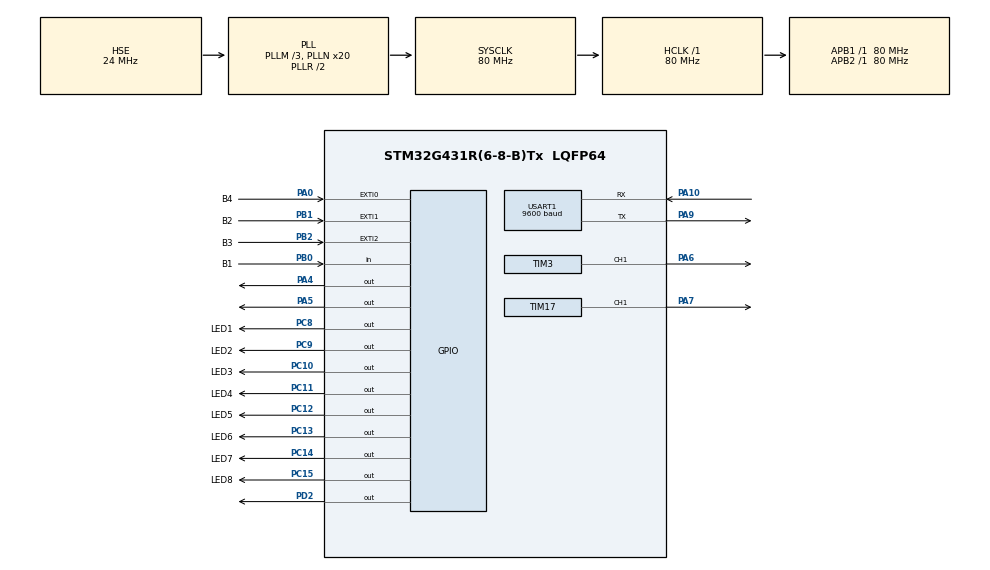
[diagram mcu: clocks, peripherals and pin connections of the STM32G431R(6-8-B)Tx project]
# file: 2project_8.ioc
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Mcu.Family=STM32G4
Mcu.Name=STM32G431R(6-8-B)Tx
Mcu.Package=LQFP64
NVIC.EXTI0_IRQn=true\:0\:0\:false\:false\:true\:true\:true
NVIC.EXTI1_IRQn=true\:0\:0\:false\:false\:true\:true\:true
NVIC.EXTI2_IRQn=true\:0\:0\:false\:false\:true\:true\:true
NVIC.PriorityGroup=NVIC_PRIORITYGROUP_4
NVIC.TIM1_UP_TIM16_IRQn=true\:0\:0\:false\:false\:true\:true\:true
PA0.GPIO_Label=B4
PA0.Signal=GPXTI0
PA10.Mode=Asynchronous
PA10.Signal=USART1_RX
PA4.GPIO_PuPd=GPIO_PULLUP
PA4.Signal=GPIO_Output
PA5.GPIO_PuPd=GPIO_PULLUP
PA5.Signal=GPIO_Output
PA6.Signal=S_TIM3_CH1
PA7.Signal=S_TIM17_CH1
PA9.Mode=Asynchronous
PA9.Signal=USART1_TX
PB0.GPIO_Label=B1
PB0.Signal=GPIO_Input
PB1.GPIO_Label=B2
PB1.Signal=GPXTI1
PB2.GPIO_Label=B3
PB2.Signal=GPXTI2
PC10.GPIO_Label=LED3
PC10.Signal=GPIO_Output
PC11.GPIO_Label=LED4
PC11.Signal=GPIO_Output
PC12.GPIO_Label=LED5
PC12.Signal=GPIO_Output
PC13.GPIO_Label=LED6
PC13.Signal=GPIO_Output
PC14-OSC32_IN.GPIO_Label=LED7
PC14-OSC32_IN.Signal=GPIO_Output
PC15-OSC32_OUT.GPIO_Label=LED8
PC15-OSC32_OUT.Signal=GPIO_Output
PC8.GPIO_Label=LED1
PC8.Signal=GPIO_Output
PC9.GPIO_Label=LED2
PC9.Signal=GPIO_Output
PD2.Signal=GPIO_Output
PF0-OSC_IN.Mode=HSE-External-Oscillator
PF0-OSC_IN.Signal=RCC_OSC_IN
PF1-OSC_OUT.Mode=HSE-External-Oscillator
PF1-OSC_OUT.Signal=RCC_OSC_OUT
ProjectManager.HeapSize=0x200
ProjectManager.StackSize=0x400
ProjectManager.TargetToolchain=MDK-ARM V5.32
RCC.ADC12Freq_Value=80000000
RCC.AHBFreq_Value=80000000
RCC.APB1Freq_Value=80000000
RCC.APB1TimFreq_Value=80000000
RCC.APB2Freq_Value=80000000
RCC.APB2TimFreq_Value=80000000
RCC.CortexFreq_Value=80000000
RCC.EXTERNAL_CLOCK_VALUE=12288000
RCC.HCLKFreq_Value=80000000
RCC.HSE_VALUE=24000000
RCC.HSI48_VALUE=48000000
RCC.HSI_VALUE=16000000
RCC.LSE_VALUE=32768
RCC.PLLM=RCC_PLLM_DIV3
RCC.PLLN=20
RCC.PLLSourceVirtual=RCC_PLLSOURCE_HSE
RCC.SYSCLKFreq_VALUE=80000000
RCC.SYSCLKSource=RCC_SYSCLKSOURCE_PLLCLK
RCC.USBFreq_Value=80000000
RCC.VCOOutputFreq_Value=160000000
RTC.Hours=12
RTC.Minutes=50
RTC.Seconds=55
SH.S_TIM17_CH1.0=TIM17_CH1,PWM Generation1 CH1
SH.S_TIM3_CH1.0=TIM3_CH1,PWM Generation1 CH1
TIM1.AutoReloadPreload=TIM_AUTORELOAD_PRELOAD_ENABLE
TIM1.PeriodNoDither=10000-1
TIM1.Prescaler=80-1
TIM17.AutoReloadPreload=TIM_AUTORELOAD_PRELOAD_ENABLE
TIM17.Channel=TIM_CHANNEL_1
TIM17.PeriodNoDither=500-1
TIM17.Prescaler=80-1
TIM17.PulseNoDither_1=600
TIM3.AutoReloadPreload=TIM_AUTORELOAD_PRELOAD_ENABLE
TIM3.Channel-PWM\ Generation1\ CH1=TIM_CHANNEL_1
TIM3.PeriodNoDither=1000-1
TIM3.Prescaler=80-1
TIM3.PulseNoDither_1=800
USART1.BaudRate=9600
USART1.VirtualMode-Asynchronous=VM_ASYNC
VP_RTC_VS_RTC_Activate.Mode=RTC_Enabled
VP_RTC_VS_RTC_Calendar.Mode=RTC_Calendar
VP_SYS_VS_DBSignals.Mode=DisableDeadBatterySignals
VP_TIM17_VS_ClockSourceINT.Mode=Enable_Timer
VP_TIM1_VS_ClockSourceINT.Mode=Internal
VP_TIM3_VS_ClockSourceINT.Mode=Internal
board=custom

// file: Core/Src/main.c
/* USER CODE BEGIN Header */
/**
  ******************************************************************************
  * @file           : main.c
  * @brief          : Main program body
  ******************************************************************************
  * @attention
  *
  * <h2><center>&copy; Copyright (c) 2022 STMicroelectronics.
  * All rights reserved.</center></h2>
  *
  * This software component is licensed by ST under BSD 3-Clause license,
  * the "License"; You may not use this file except in compliance with the
  * License. You may obtain a copy of the License at:
  *                        opensource.org/licenses/BSD-3-Clause
  *
  ******************************************************************************
  */
/* USER CODE END Header */
#include "main.h"
#include "rtc.h"
#include "tim.h"
#include "usart.h"
#include "gpio.h"

/* USER CODE BEGIN Includes */
#include <stdio.h>
#include "lcd.h"
/* USER CODE END Includes */

/* USER CODE BEGIN PTD */
typedef struct
{
	uint8_t B_want;
	uint8_t B_now;
	uint8_t B[6];
	uint8_t B_buf[6];
	uint8_t B_going;
	uint8_t B_Start;

}BX_TypeDef;

BX_TypeDef BX;

typedef struct
{
	uint16_t Key;
	uint16_t Led;
	uint16_t Door;
	uint16_t UD;
	uint16_t Wait;

}Time_TypeDef;

Time_TypeDef T;
/* USER CODE END PTD */

/* USER CODE BEGIN PD */
#define B1 !HAL_GPIO_ReadPin(GPIOB,B1_Pin)
/* USER CODE END PD */

/* USER CODE BEGIN PV */
uint8_t ShowTime[16];
uint8_t ShowDate[16];
uint8_t str[30];
uint16_t Time = 0;
/* USER CODE END PV */

void SystemClock_Config(void);

/* USER CODE BEGIN 0 */

//重定向函数
int fputc(int ch,FILE *stream)
{
	while(!(USART1->ISR & (1<<7)));
	USART1->TDR = (uint8_t)ch;
	return ch;
}

//结构体初始化
void BX_Init(void)
{
	BX.B[0] = 0;
	BX.B[1] = 0;
	BX.B[2] = 0;
	BX.B[3] = 0;

	BX.B_buf[0] = 0;
	BX.B_buf[1] = 0;
	BX.B_buf[2] = 0;
	BX.B_buf[3] = 0;

	BX.B_now = 1;
	BX.B_want = 0;
	BX.B_going = 0;//电梯是否正在运行
	BX.B_Start = 0;//各状态标志位
}

void T_init(void)
{
	T.Key = 100;
	T.Led = 25;
	T.Door = 400;
	T.UD = 600;
	T.Wait = 200;
}

//RTC显示函数
void RTC_Show(uint8_t* showtime)
{
	RTC_TimeTypeDef T;
	RTC_DateTypeDef D;

	HAL_RTC_GetTime(&hrtc,&T,RTC_FORMAT_BIN);
	HAL_RTC_GetDate(&hrtc,&D,RTC_FORMAT_BIN);

	sprintf((char*)showtime,"     %d: %d: %d      ",T.Hours,T.Minutes,T.Seconds);
	LCD_DisplayStringLine(Line7,(uint8_t*)ShowTime);
}

//LCD刷新所在楼层
void LCD_Show(void)
{
	if(BX.B_now)
	{
		sprintf((char*)str,"         %d       ",BX.B_now);
		LCD_DisplayStringLine(Line4,str);
	}
	else
	{
		sprintf((char*)str,"                     ");
		LCD_DisplayStringLine(Line4,str);
	}
}

//绝对值函数
int rabs(int data)
{
	if(data > 0)
		return data;
	else
		return -data;
}

//开关门函数
void Door(uint8_t data)//开门为1，关门为0
{
	if(data)
	{
		HAL_GPIO_WritePin(GPIOA,GPIO_PIN_5,GPIO_PIN_SET);
		__HAL_TIM_SetCompare(&htim17,TIM_CHANNEL_1,600);
	}
	else
	{
		HAL_GPIO_WritePin(GPIOA,GPIO_PIN_5,GPIO_PIN_RESET);
		__HAL_TIM_SetCompare(&htim17,TIM_CHANNEL_1,500);
	}
}

//上下行函数
void UpDown(uint8_t data)//上行为1，下行为0
{
	if(data)
	{
		HAL_GPIO_WritePin(GPIOA,GPIO_PIN_4,GPIO_PIN_SET);
		__HAL_TIM_SetCompare(&htim3,TIM_CHANNEL_1,800);
	}
	else
	{
		HAL_GPIO_WritePin(GPIOA,GPIO_PIN_4,GPIO_PIN_RESET);
		__HAL_TIM_SetCompare(&htim3,TIM_CHANNEL_1,600);
	}
}

//关闭所有LED
void LED_Close(void)
{
	HAL_GPIO_WritePin(GPIOC,LED1_Pin|LED2_Pin|LED3_Pin|LED4_Pin|LED5_Pin|LED6_Pin|LED7_Pin|LED8_Pin,GPIO_PIN_SET);
	HAL_GPIO_WritePin(GPIOD,GPIO_PIN_2,GPIO_PIN_SET);
	HAL_GPIO_WritePin(GPIOD,GPIO_PIN_2,GPIO_PIN_RESET);
}
//要去哪个楼层，点亮哪个LED
void B_LED(void)
{
	LED_Close();
	for(int i = 0;i < 4;i++)
	{
		if(BX.B[i])
		{
			HAL_GPIO_WritePin(GPIOC,(1<<(8 + i)),GPIO_PIN_RESET);
		}
		HAL_GPIO_WritePin(GPIOD,GPIO_PIN_2,GPIO_PIN_SET);
		HAL_GPIO_WritePin(GPIOD,GPIO_PIN_2,GPIO_PIN_RESET);
	}
}
//LED闪烁函数
uint8_t Flag_LED = 0;
void LED_BL(void)
{
	switch (BX.B_going)
	{
		//上行流水灯
		case 1:
			HAL_GPIO_WritePin(GPIOC,1<<(12 + Flag_LED),GPIO_PIN_SET);//关闭上一个灯
//			for(int i = 0;i < 4;i++)
//			{
//				HAL_GPIO_WritePin(GPIOC,(1<<(12 + i)),GPIO_PIN_SET);
//			}
			if(++Flag_LED == 4)//循环点亮
			{
				Flag_LED = 0;
			}
			HAL_GPIO_WritePin(GPIOC,(1<<(12 + Flag_LED)),GPIO_PIN_RESET);
			break;
		case 2:
//			HAL_GPIO_WritePin(GPIOC,1<<(12 + Flag_LED),GPIO_PIN_SET);
			for(int i = 0;i < 4;i++)
			{
				HAL_GPIO_WritePin(GPIOC,(1<<(12 + i)),GPIO_PIN_SET);
			}

			if(--Flag_LED == 255)//倒过来循环点亮
			{
				Flag_LED = 3;
			}
			HAL_GPIO_WritePin(GPIOC,(1<<(12 + Flag_LED)),GPIO_PIN_RESET);
			break;
	}

			HAL_GPIO_WritePin(GPIOD,GPIO_PIN_2,GPIO_PIN_SET);
			HAL_GPIO_WritePin(GPIOD,GPIO_PIN_2,GPIO_PIN_RESET);
}

//计算想去的楼层
void Cal_want(void)
{
	BX.B_want = 0;

	for(int i = 0;i < 4;i++)
	{
		if(BX.B[i])
		{
			BX.B_buf[i] = (uint8_t)(BX.B[i] - BX.B_now);
//		printf("BX.B_buf[i]: %d\r\n",BX.B_buf[i]);
		}
	}

	uint16_t num = 300;
	uint8_t index = 0;

	for(int i = 0;i < 4;i++)
	{
		if((num > BX.B_buf[i]) && BX.B_buf[i] && (BX.B_buf[i] < 200))
		{
			index = BX.B[i];
			num = BX.B_buf[i];
		}
	}

	BX.B_want = index;
	num = 0;
	index = 0;

	if(!BX.B_want)
	{
		for(int i = 0;i< 4;i++)
		{
			if(num < BX.B_buf[i])
			{
				index = BX.B[i];
				num = BX.B_buf[i];
			}
		}

		BX.B_want = index;
		printf("Want goto: %d\r\n",BX.B_want);
	}

	BX.B_buf[BX.B_want - 1] = 0;
}

#define Up 1
#define Down 0
#define Open 1
#define Close 0
//定时器中断回调函数
void HAL_TIM_PeriodElapsedCallback(TIM_HandleTypeDef *htim)
{
	if(htim->Instance == htim1.Instance)
	{
		switch (BX.B_Start)
		{
			//第一步判断最后一次按键是否按下超过一秒
			case 1:
				if(--Time == 0)
				{
					Cal_want();
					printf("goto: %d\r\n",BX.B_want);
					BX.B_Start = 2;
					Time = T.Door;
					Door(Close);
					printf("Door Closing...\r\n");
				}
				break;
				//第二步关门
			case 2:
				if(--Time == 0)
				{
					BX.B_Start = 3;
					Time = 0;
				}
				//第三步计算上下行
				break;
			case 3:
				if(BX.B_want > BX.B_now)
				{
					printf("Uping...\r\n");
					UpDown(Up);
					BX.B_going = 1;
				}else
				{
					printf("Downing...\r\n");
					UpDown(Down);
					BX.B_going = 2;
				}
				BX.B_Start = 4;
				Time = T.UD * rabs((BX.B_now-BX.B_want));
				break;
				//第四步上下行，上下行过程中有流水灯
			case 4:
				if((--Time % T.UD) == 0)
				{
					if(BX.B_want > BX.B_now) BX.B_now++;
					if(BX.B_want < BX.B_now) BX.B_now--;
					if(BX.B_want == BX.B_now)
					{
						BX.B_Start = 5;
						Time = T.Led;

						BX.B_now = BX.B_want;
						BX.B[BX.B_now-1] = 0;
						printf("arive: %d\r\n",BX.B_now);

						Door(Open);
						printf("Door Opnning...\r\n");

						BX.B_going = 0;
					}
				}
				break;
				//第五步，到达的楼层闪两下
			case 5:
				if(--Time == 0)
				{
					BX.B_Start = 6;
					Time = T.Led;
					BX.B_now = 0;//灭
				}
				break;
			case 6:
				if(--Time == 0)
				{
					BX.B_Start = 7;
					Time = T.Led;
					BX.B_now = BX.B_want;//亮
				}
				break;
			case 7:
				if(--Time == 0)
				{
					BX.B_Start = 8;
					Time = T.Led;
					BX.B_now = 0;//灭
				}
				break;
			case 8:
				if(--Time == 0)
				{
					BX.B_Start = 9;
					Time = T.Door - 100;
					BX.B_now = BX.B_want;//亮
				}
				break;
				//第九步，开门
			case 9:
				if(--Time == 0)
				{
					BX.B_Start = 10;
					Time = 0;
				}
				break;
				//第十步，计算是否还有下一个目标层
			case 10:
				Cal_want();
				if(!BX.B_want)
				{
					printf("Over!\r\n");
					Time = 0;
					BX.B_Start = 0;
				}
				else
				{
					printf("goto: %d\r\n",BX.B_want);
					Time = T.Wait;
					BX.B_Start = 11;
				}
				break;
			//第十一步，等待两秒后关门起步
			case 11:
				if(--Time == 0)
				{
					BX.B_Start = 2;
					Time = T.Door;

					Door(Close);
					printf("Door Closing\r\n");
				}
				break;
		}

		B_LED();

		if(BX.B_going)
		{
			if(--T.Led == 0)
			{
				LED_BL();
				T.Led = 25;
			}
		}
		else
		{
			HAL_GPIO_WritePin(GPIOC,(1<<(12 + Flag_LED)),GPIO_PIN_SET);
			HAL_GPIO_WritePin(GPIOD,GPIO_PIN_2,GPIO_PIN_SET);
			HAL_GPIO_WritePin(GPIOD,GPIO_PIN_2,GPIO_PIN_RESET);
		}

	}

}

//按键中断回调函数
void HAL_GPIO_EXTI_Callback(uint16_t GPIO_Pin)
{
	if(BX.B_Start < 2)
		{
			switch (GPIO_Pin)
			{
				case B2_Pin:
					printf("B2_Down!\r\n");
					switch (BX.B_now)
					{
						case 1:
							BX.B_Start = 1;
							BX.B[1] = 2;
							Time = T.Key;
							break;
						case 2:
							break;
						case 3:
							BX.B_Start = 1;
							BX.B[1] = 2;
							Time = T.Key;
							break;
						case 4:
							BX.B_Start = 1;
							BX.B[1] = 2;
							Time = T.Key;
							break;
					}

					break;
				case B3_Pin:
					printf("B3_Down!\r\n");
					switch (BX.B_now)
					{
						case 1:
							BX.B_Start = 1;
							BX.B[2] = 3;
							Time = T.Key;
							break;
						case 2:
							BX.B_Start = 1;
							BX.B[2] = 3;
							Time = T.Key;
							break;
						case 3:
							break;
						case 4:
							BX.B_Start = 1;
							BX.B[2] = 3;
							Time = T.Key;
							break;
					}

					break;
				case B4_Pin:
					printf("B4_Down!\r\n");
					switch (BX.B_now)
					{
						case 1:
							BX.B_Start = 1;
							BX.B[3] = 4;
							Time = T.Key;
							break;
						case 2:
							BX.B_Start = 1;
							BX.B[3] = 4;
							Time = T.Key;
							break;
						case 3:
							BX.B_Start = 1;
							BX.B[3] = 4;
							Time = T.Key;
							break;
						case 4:
							break;
					}
					break;
			}
	}
}
/* USER CODE END 0 */

int main(void)
{

  /* MCU Configuration--------------------------------------------------------*/

  /* Reset of all peripherals, Initializes the Flash interface and the Systick. */
  HAL_Init();

  /* Configure the system clock */
  SystemClock_Config();

  /* Initialize all configured peripherals */
  MX_GPIO_Init();
  MX_RTC_Init();
  MX_TIM1_Init();
  MX_TIM3_Init();
  MX_TIM17_Init();
  MX_USART1_UART_Init();
  /* USER CODE BEGIN 2 */

	LCD_Init();
	LCD_Clear(Black);
	LCD_SetBackColor(Black);
	LCD_SetTextColor(White);

	LCD_DisplayStringLine(Line1,(uint8_t*)"        NOW        " );

	BX_Init();
	T_init();

	LED_Close();

	printf("USART OK!\r\n");

	HAL_TIM_Base_Start_IT(&htim1);

	HAL_TIM_PWM_Start(&htim3,TIM_CHANNEL_1);
	__HAL_TIM_SetCompare(&htim3,TIM_CHANNEL_1,800);
	HAL_TIM_PWM_Start(&htim17,TIM_CHANNEL_1);
	__HAL_TIM_SetCompare(&htim17,TIM_CHANNEL_1,600);
  /* USER CODE END 2 */

  /* Infinite loop */
  /* USER CODE BEGIN WHILE */
  while (1)
  {
		if(BX.B_Start < 2)
		{
			if(B1)
			{
				printf("B1_Down!\r\n");
				while(B1);
				switch (BX.B_now)
				{
					case 1:
						break;
					case 2:
						BX.B_Start = 1;
						BX.B[0] = 1;
						Time = T.Key;
						break;
					case 3:
						BX.B_Start = 1;
						BX.B[0] = 1;
						Time = T.Key;
					break;
					case 4:
						BX.B_Start = 1;
						BX.B[0] = 1;
						Time = T.Key;
						break;
				}
			}
		}
		LCD_Show();
		RTC_Show(ShowTime);
    /* USER CODE END WHILE */

  }
}

void SystemClock_Config(void)
{
  RCC_OscInitTypeDef RCC_OscInitStruct = {0};
  RCC_ClkInitTypeDef RCC_ClkInitStruct = {0};
  RCC_PeriphCLKInitTypeDef PeriphClkInit = {0};

  /** Configure the main internal regulator output voltage
  */
  HAL_PWREx_ControlVoltageScaling(PWR_REGULATOR_VOLTAGE_SCALE1);
  /** Initializes the RCC Oscillators according to the specified parameters
  * in the RCC_OscInitTypeDef structure.
  */
  RCC_OscInitStruct.OscillatorType = RCC_OSCILLATORTYPE_LSI|RCC_OSCILLATORTYPE_HSE;
  RCC_OscInitStruct.HSEState = RCC_HSE_ON;
  RCC_OscInitStruct.LSIState = RCC_LSI_ON;
  RCC_OscInitStruct.PLL.PLLState = RCC_PLL_ON;
  RCC_OscInitStruct.PLL.PLLSource = RCC_PLLSOURCE_HSE;
  RCC_OscInitStruct.PLL.PLLM = RCC_PLLM_DIV3;
  RCC_OscInitStruct.PLL.PLLN = 20;
  RCC_OscInitStruct.PLL.PLLP = RCC_PLLP_DIV2;
  RCC_OscInitStruct.PLL.PLLQ = RCC_PLLQ_DIV2;
  RCC_OscInitStruct.PLL.PLLR = RCC_PLLR_DIV2;
  if (HAL_RCC_OscConfig(&RCC_OscInitStruct) != HAL_OK)
  {
    Error_Handler();
  }
  /** Initializes the CPU, AHB and APB buses clocks
  */
  RCC_ClkInitStruct.ClockType = RCC_CLOCKTYPE_HCLK|RCC_CLOCKTYPE_SYSCLK
                              |RCC_CLOCKTYPE_PCLK1|RCC_CLOCKTYPE_PCLK2;
  RCC_ClkInitStruct.SYSCLKSource = RCC_SYSCLKSOURCE_PLLCLK;
  RCC_ClkInitStruct.AHBCLKDivider = RCC_SYSCLK_DIV1;
  RCC_ClkInitStruct.APB1CLKDivider = RCC_HCLK_DIV1;
  RCC_ClkInitStruct.APB2CLKDivider = RCC_HCLK_DIV1;

  if (HAL_RCC_ClockConfig(&RCC_ClkInitStruct, FLASH_LATENCY_2) != HAL_OK)
  {
    Error_Handler();
  }
  /** Initializes the peripherals clocks
  */
  PeriphClkInit.PeriphClockSelection = RCC_PERIPHCLK_RTC|RCC_PERIPHCLK_USART1;
  PeriphClkInit.Usart1ClockSelection = RCC_USART1CLKSOURCE_PCLK2;
  PeriphClkInit.RTCClockSelection = RCC_RTCCLKSOURCE_LSI;

  if (HAL_RCCEx_PeriphCLKConfig(&PeriphClkInit) != HAL_OK)
  {
    Error_Handler();
  }
}

void Error_Handler(void)
{
  __disable_irq();
  while (1)
  {
  }
}

/************************ (C) COPYRIGHT STMicroelectronics *****END OF FILE****/
